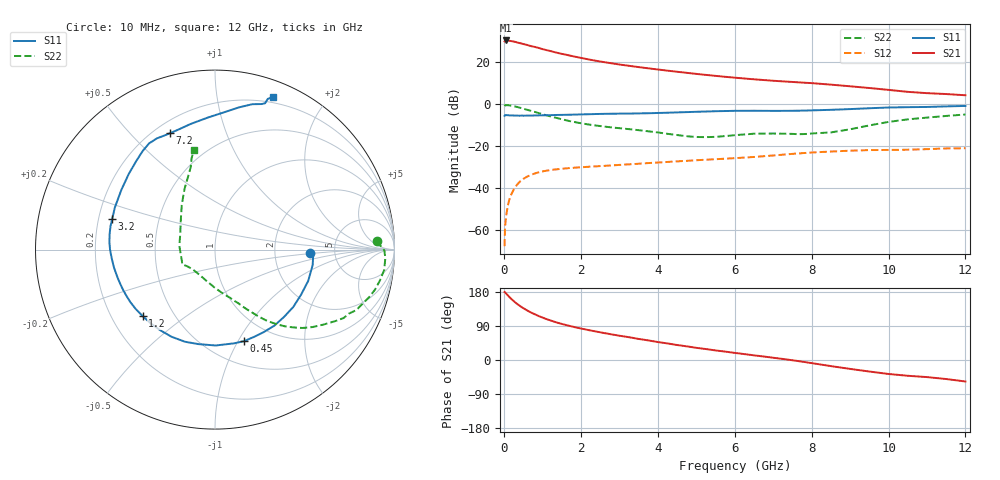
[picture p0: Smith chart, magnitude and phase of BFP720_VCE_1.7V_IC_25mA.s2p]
! Infineon Technologies  Discrete & RF Semiconductors
! BFP720
! VCE =  1.7 V,  IC =  25 mA
! Common Emitter S-Parameters:  Aug 2012
# GHz  S  MA  R  50
!  f  S11  S21  S12  S22
! GHz  MAG  ANG  MAG  ANG  MAG  ANG  MAG  ANG
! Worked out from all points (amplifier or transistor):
!   105 points, 10 MHz to 12 GHz, reference 50 ohm
!   highest |S21| = 30.6 dB at 50 MHz (marker M1)
!   |S21| within 3 dB of that: start of sweep to 769.9 MHz
!   unconditionally stable (mu >= 1): start of sweep to 28.82 MHz; 3.311 GHz to 11.02 GHz
!   at 300 MHz: K = 0.24, MSG = 34.6 dB, |S12| = -39.3 dB
!   at 3.6 GHz: K = 1.04, MAG = 21.7 dB, |S12| = -28.4 dB
!   at 12 GHz: K = 0.74, MSG = 12.7 dB, |S12| = -21.1 dB
!   S11 on the Smith chart (normalised r, x): 10 MHz: 3.23, -0.16; 450 MHz: 0.74, -1.06; 1.2 GHz: 0.33, -0.35; 3.2 GHz: 0.26, +0.14; 7.2 GHz: 0.26, +0.65; 12 GHz: 0.14, +1.44
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0.01  0.5284 -1.9  32.04 179.4  0.0004 173.4  0.9029 3.0
0.02  0.5481 -3.5  33.44 178.4  0.0011 67.4  0.9435 -0.3
0.05  0.5509 -9.0  33.71 175.4  0.0021 68.7  0.9502 -2.8
0.1  0.5478 -18.6  33.63 169.9  0.0039 78.9  0.9497 -6.9
0.2  0.5407 -36.2  32.36 159.6  0.0075 74.0  0.9192 -14.0
0.25  0.5372 -44.4  31.66 155.2  0.0092 71.3  0.8985 -17.2
0.3  0.5374 -52.0  30.95 150.7  0.0108 69.1  0.8761 -20.1
0.45  0.5351 -72.4  28.49 139.6  0.0151 62.3  0.8118 -28.0
0.6  0.5343 -89.6  26.27 130.6  0.0186 56.0  0.7353 -34.6
0.8  0.54 -108.1  23.56 120.5  0.0221 49.9  0.6539 -41.9
1  0.5432 -124.6  20.89 111.8  0.0247 44.7  0.5777 -47.7
1.2  0.5475 -137.5  18.83 104.5  0.0266 40.8  0.5136 -52.2
1.6  0.5593 -156.6  15.44 92.5  0.0291 35.8  0.4161 -58.8
2.1  0.5741 -172.6  12.34 81.0  0.0314 32.9  0.3389 -65.2
2.6  0.5898 176.0  10.2 71.1  0.0335 31.6  0.2926 -70.9
3.2  0.5977 163.3  8.451 60.9  0.0363 30.9  0.2559 -77.9
4.1  0.6219 145.6  6.626 45.9  0.0408 29.8  0.2051 -92.9
6.1  0.6967 121.0  4.251 17.5  0.0519 26.3  0.1849 -150.8
7.2  0.6954 111.1  3.557 3.4  0.0615 23.8  0.1977 -158.1
8.5  0.7364 93.2  2.951 -16.1  0.0738 14.5  0.2117 156.2
10.5  0.8517 72.2  1.983 -41.6  0.0815 -0.4  0.4349 110.1
12  0.9118 69.1  1.643 -56.7  0.0886 -10.2  0.569 101.9
